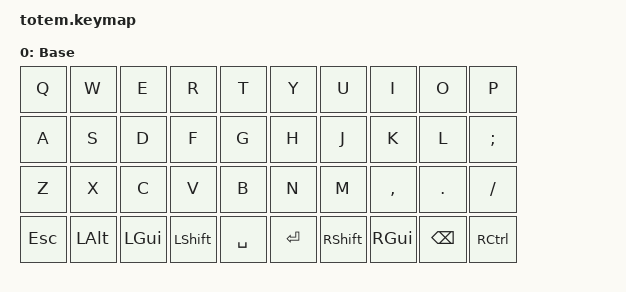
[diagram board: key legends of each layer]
#include <behaviors.dtsi>
#include <dt-bindings/zmk/keys.h>
#include <dt-bindings/zmk/bt.h>
#include <dt-bindings/zmk/outputs.h>

/ {
    keymap {
        compatible = "zmk,keymap";

        default_layer {
            display-name = "Base";
            /* 10列 × 4行 ＝ 合計40キーを定義します */
            bindings = <
                &kp Q    &kp W    &kp E    &kp R    &kp T      &kp Y    &kp U    &kp I    &kp O    &kp P
                &kp A    &kp S    &kp D    &kp F    &kp G      &kp H    &kp J    &kp K    &kp L    &kp SEMI
                &kp Z    &kp X    &kp C    &kp V    &kp B      &kp N    &kp M    &kp COMMA &kp DOT &kp SLASH
                &kp ESC  &kp LALT &kp LGUI &kp LSHFT &kp SPACE &kp ENTER &kp RSHFT &kp RGUI &kp BACKSPACE &kp RCTRL
            >;
        };
    };
};
